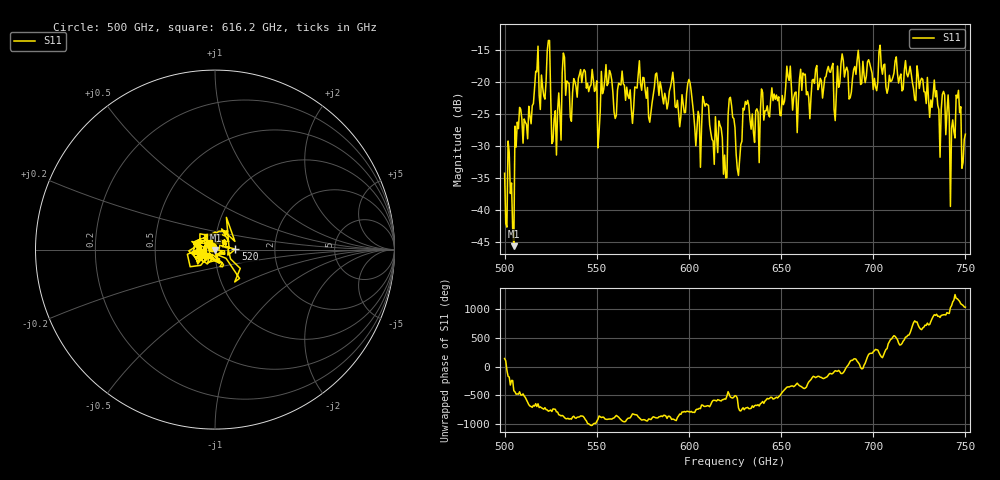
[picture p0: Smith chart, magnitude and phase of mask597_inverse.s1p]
!Created with skrf (http://scikit-rf.org).
# GHz S MA R 50.0
!freq magS11 angS11
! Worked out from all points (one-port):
!   401 points, 500 GHz to 750 GHz, reference 50 ohm
!   lowest |S11| = -45.7 dB at 505 GHz (marker M1), VSWR 1.01, Z = 50.2 - j0.456 ohm
!   |S11| at or under -10 dB: start of sweep to end of sweep
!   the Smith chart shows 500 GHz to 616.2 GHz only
!   S11 on the Smith chart (normalised r, x): 500 GHz: 0.97, +0.02; 520 GHz: 1.26, +0.01; 616.2 GHz: 0.93, +0.07
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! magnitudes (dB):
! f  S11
! 500 GHz  -34.3
! 505 GHz  -45.7
! 508.1 GHz  -24.0
! 520 GHz  -18.9
! 523.8 GHz  -13.5
! 526.9 GHz  -25.8
! 531.2 GHz  -18.5
! 542.5 GHz  -18.6
! 550.6 GHz  -30.3
! 562.5 GHz  -20.4
! 593.8 GHz  -22.9
! 600 GHz  -19.6
! 605 GHz  -24.6
! 608.8 GHz  -23.8
! 616.2 GHz  -26.1
! 619.4 GHz  -31.5
! 622.5 GHz  -22.4
! 625 GHz  -27.2
! 626.9 GHz  -34.6
! 630.6 GHz  -23.1
! 636.9 GHz  -24.2
! 656.2 GHz  -24.4
! 687.5 GHz  -22.5
! 718.8 GHz  -19.2
! 739.4 GHz  -28.3
! 743.1 GHz  -25.9
! 746.2 GHz  -21.3
! 750 GHz  -28.2
